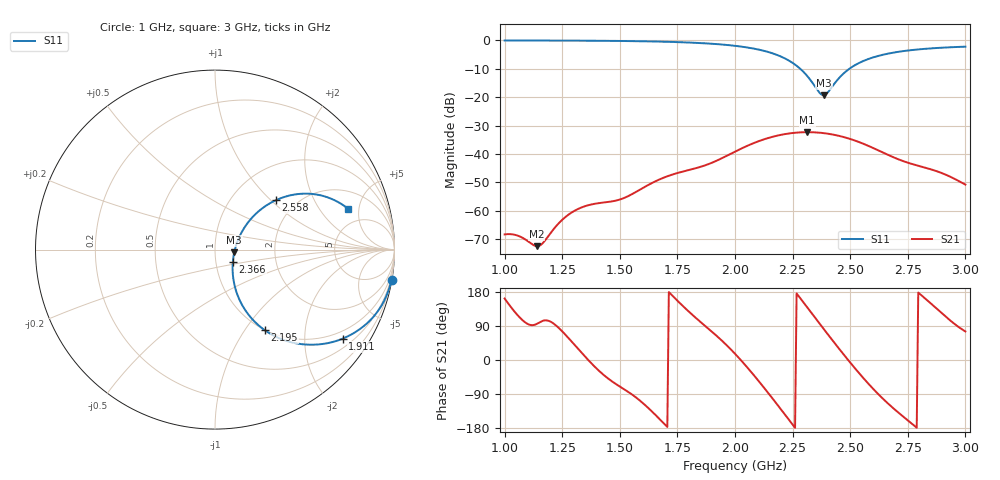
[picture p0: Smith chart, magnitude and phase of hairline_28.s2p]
! TOUCHSTONE file generated by CST MICROWAVE STUDIO
! Date and time: Tue Mar 18 20:31:47 2025
! Project name: hairline.cst
! Parameters = {B=12.5; D=160; F=15; Feed=2.85625; Fracture=0.5; L=100; M=50; R=0.384908; S=1.5; Theta=180; length=57.125; wave=114.25}
! Header version: 2024
! Port assignment regex: !\s*Touchstone port\s*([0-9]+)\s*=\s*(CST MWS port|CST DES external port|CST DES block port)\s*(.+)\s* \(\"(.*)\"\)(\s*mode\s*([0-9]+))?.*
! Touchstone port assignment:
! Touchstone port 1 = CST MWS port 1 ("")
! Touchstone port 2 = CST MWS port 2 ("")
# GHz S DB R 50
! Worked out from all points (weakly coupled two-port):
!   304 points, 1 GHz to 3 GHz, reference 50 ohm
!   highest |S21| = -32.34 dB at 2.314 GHz (marker M1); lowest = -72.5 dB at 1.139 GHz (marker M2)
!   lowest |S11| = -19.3 dB at 2.386 GHz (marker M3), VSWR 1.24, Z = 62 - j1.97 ohm
!   |S11| at or under -10 dB: 2.283 GHz to 2.496 GHz (213.3 MHz wide, 8.93 % of centre)
!   S12 and S22 are empty: the file has one direction only
!   S11 on the Smith chart (normalised r, x): 1 GHz: 0, -12; 1.911 GHz: 0.75, -3.01; 2.195 GHz: 1.00, -1.24; 2.366 GHz: 1.21, -0.17; 2.558 GHz: 1.58, +1.07; 3 GHz: 3.39, +3.85
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1  -0.02 -9.7  -68.38 162.1  -200.00 0.0  -200.00 0.0
1.05941  -0.03 -10.5  -68.87 116.2  -200.00 0.0  -200.00 0.0
1.13861  -0.04 -11.7  -72.52 94.9  -200.00 0.0  -200.00 0.0
1.16502  -0.04 -12.1  -71.50 103.3  -200.00 0.0  -200.00 0.0
1.25743  -0.07 -13.6  -62.69 71.0  -200.00 0.0  -200.00 0.0
1.33663  -0.10 -15.1  -58.79 17.4  -200.00 0.0  -200.00 0.0
1.50825  -0.20 -19.0  -55.86 -73.1  -200.00 0.0  -200.00 0.0
1.66667  -0.41 -23.8  -49.20 -152.2  -200.00 0.0  -200.00 0.0
1.91089  -1.24 -34.9  -42.74 68.8  -200.00 0.0  -200.00 0.0
2.0033  -1.94 -41.0  -39.08 14.4  -200.00 0.0  -200.00 0.0
2.10891  -3.35 -49.8  -35.33 -60.2  -200.00 0.0  -200.00 0.0
2.19472  -5.53 -58.2  -33.36 -126.5  -200.00 0.0  -200.00 0.0
2.26073  -8.53 -63.5  -32.54 -179.0  -200.00 0.0  -200.00 0.0
2.31353  -12.54 -61.9  -32.34 138.7  -200.00 0.0  -200.00 0.0
2.33993  -15.38 -54.3  -32.38 117.6  -200.00 0.0  -200.00 0.0
2.36634  -18.40 -34.1  -32.52 96.6  -200.00 0.0  -200.00 0.0
2.38614  -19.31 -8.4  -32.69 80.9  -200.00 0.0  -200.00 0.0
2.47855  -11.13 40.9  -34.21 9.3  -200.00 0.0  -200.00 0.0
2.55776  -7.23 39.1  -36.45 -48.1  -200.00 0.0  -200.00 0.0
2.66997  -4.57 31.9  -40.56 -118.1  -200.00 0.0  -200.00 0.0
2.89439  -2.59 20.4  -46.66 125.1  -200.00 0.0  -200.00 0.0
3  -2.20 16.9  -50.82 75.4  -200.00 0.0  -200.00 0.0
